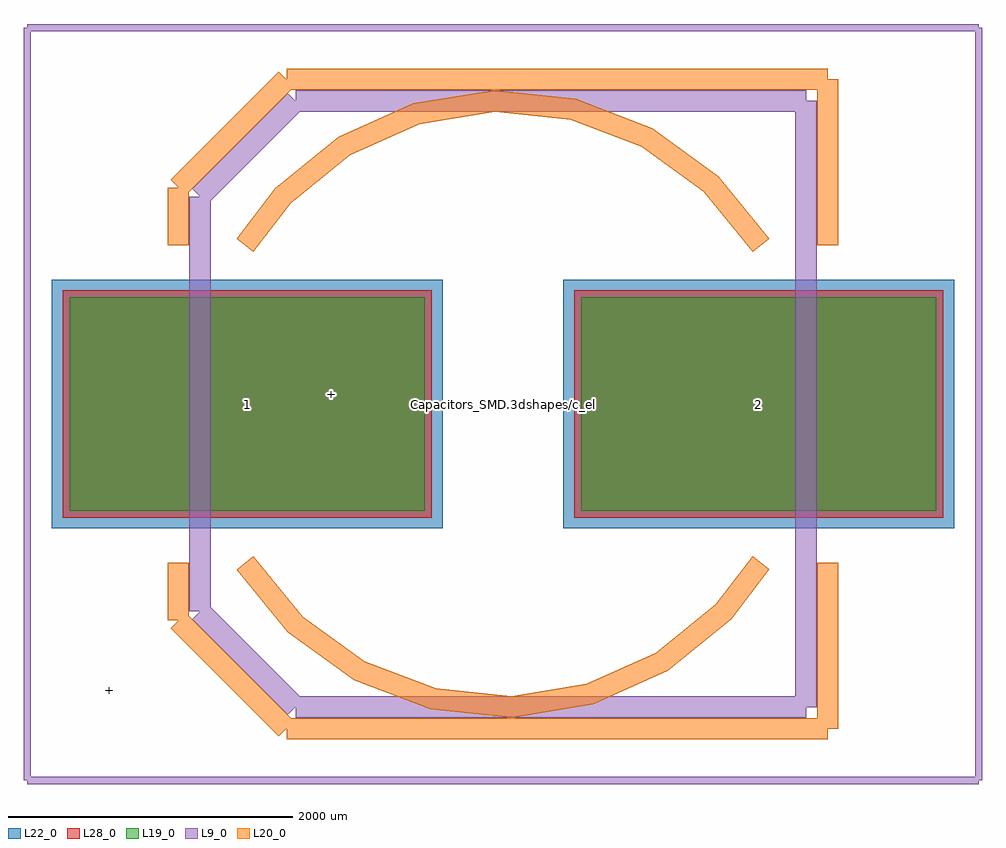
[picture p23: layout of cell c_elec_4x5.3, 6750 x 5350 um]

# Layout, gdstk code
import gdstk
lib = gdstk.Library(unit=1e-6, precision=1e-09)
def R(c, l, rs):  # rectangles x0, y0, x1, y1
    for r in rs: c.add(gdstk.rectangle(r[:2], r[2:], *l))
L9_0 = (9, 0)
L19_0 = (19, 0)
L20_0 = (20, 0)
L22_0 = (22, 0)
L28_0 = (28, 0)

c_elec_4x5_3 = lib.new_cell('c_elec_4x5.3')
R(c_elec_4x5_3, L19_0, [(-3050,-750,-550,750), (550,-750,3050,750)])
R(c_elec_4x5_3, L22_0, [(-3175,-875,-425,875), (425,-875,3175,875)])
R(c_elec_4x5_3, L28_0, [(-3100,-800,-500,800), (500,-800,3100,800)])
c_elec_4x5_3.add(gdstk.FlexPath([(-1524,2286),(-2286,1524)], 149.998, ends="flush", simple_path=True, layer=20, datatype=0))  # L20_0
c_elec_4x5_3.add(gdstk.FlexPath([(-1524,2286),(2286,2286)], 149.998, ends="flush", simple_path=True, layer=20, datatype=0))  # L20_0
c_elec_4x5_3.add(gdstk.FlexPath([(-1524,-2286),(-2286,-1524)], 149.998, ends="flush", simple_path=True, layer=20, datatype=0))  # L20_0
c_elec_4x5_3.add(gdstk.FlexPath([(-1524,-2286),(2286,-2286)], 149.998, ends="flush", simple_path=True, layer=20, datatype=0))  # L20_0
c_elec_4x5_3.add(gdstk.FlexPath([(3350,-2650),(3350,2650)], 50, ends="flush", simple_path=True, layer=9, datatype=0))  # L9_0
c_elec_4x5_3.add(gdstk.FlexPath([(-3350,-2650),(3350,-2650)], 50, ends="flush", simple_path=True, layer=9, datatype=0))  # L9_0
c_elec_4x5_3.add(gdstk.FlexPath([(-3350,2650),(-3350,-2650)], 50, ends="flush", simple_path=True, layer=9, datatype=0))  # L9_0
c_elec_4x5_3.add(gdstk.FlexPath([(3350,2650),(-3350,2650)], 50, ends="flush", simple_path=True, layer=9, datatype=0))  # L9_0
c_elec_4x5_3.add(gdstk.FlexPath([(-2286,-1524),(-2286,-1117.6)], 149.998, ends="flush", simple_path=True, layer=20, datatype=0))  # L20_0
c_elec_4x5_3.add(gdstk.FlexPath([(2286,-2286),(2286,-1117.6)], 149.998, ends="flush", simple_path=True, layer=20, datatype=0))  # L20_0
c_elec_4x5_3.add(gdstk.FlexPath([(2286,2286),(2286,1117.6)], 149.998, ends="flush", simple_path=True, layer=20, datatype=0))  # L20_0
c_elec_4x5_3.add(gdstk.FlexPath([(-2286,1524),(-2286,1117.6)], 149.998, ends="flush", simple_path=True, layer=20, datatype=0))  # L20_0
c_elec_4x5_3.add(gdstk.FlexPath([(1816.099,1117.6),(1464.961,1549.56),(1013.988,1875.92),(493.913,2074.439),(-59.821,2131.588),(-609.478,2043.474),(-1117.6,1816.1),(-1549.56,1464.961),(-1816.1,1117.6)], 149.998, ends="flush", simple_path=True, layer=20, datatype=0))  # L20_0
c_elec_4x5_3.add(gdstk.FlexPath([(-1814.772,-1119.753),(-1463.122,-1551.296),(-1011.762,-1877.121),(-491.453,-2075.023),(62.349,-2131.516),(611.901,-2042.749),(1119.753,-1814.773),(1551.297,-1463.122),(1816.1,-1117.6)], 149.998, ends="flush", simple_path=True, layer=20, datatype=0))  # L20_0
c_elec_4x5_3.add(gdstk.FlexPath([(2133.6,2133.6),(-1460.5,2133.6)], 149.998, ends="flush", simple_path=True, layer=9, datatype=0))  # L9_0
c_elec_4x5_3.add(gdstk.FlexPath([(-1460.5,2133.6),(-2133.6,1460.5)], 149.998, ends="flush", simple_path=True, layer=9, datatype=0))  # L9_0
c_elec_4x5_3.add(gdstk.FlexPath([(-2133.6,1460.5),(-2133.6,-1460.5)], 149.998, ends="flush", simple_path=True, layer=9, datatype=0))  # L9_0
c_elec_4x5_3.add(gdstk.FlexPath([(-2133.6,-1460.5),(-1460.5,-2133.6)], 149.998, ends="flush", simple_path=True, layer=9, datatype=0))  # L9_0
c_elec_4x5_3.add(gdstk.FlexPath([(-1460.5,-2133.6),(2133.6,-2133.6)], 149.998, ends="flush", simple_path=True, layer=9, datatype=0))  # L9_0
c_elec_4x5_3.add(gdstk.FlexPath([(2133.6,-2133.6),(2133.6,2133.6)], 149.998, ends="flush", simple_path=True, layer=9, datatype=0))  # L9_0
c_elec_4x5_3.add(gdstk.Label('Capacitors_SMD.3dshapes/c_elec_4x5.3.wrl', (0,0), layer=12, texttype=0))
c_elec_4x5_3.add(gdstk.Label('2', (1800,0), layer=28, texttype=0))
c_elec_4x5_3.add(gdstk.Label('1', (-1800,0), layer=28, texttype=0))
c_elec_4x5_3.add(gdstk.Label('+', (-2768.6,-2006.6), layer=9, texttype=0))
c_elec_4x5_3.add(gdstk.Label('+', (-1206.5,76.2), layer=9, texttype=0))
c_elec_4x5_3.add(gdstk.Label('type', (0,3543.3), layer=9, texttype=0))
c_elec_4x5_3.add(gdstk.Label('devicename', (0,-3543.3), layer=9, texttype=0))

lib.write_gds('c_elec_4x5.3.gds')
